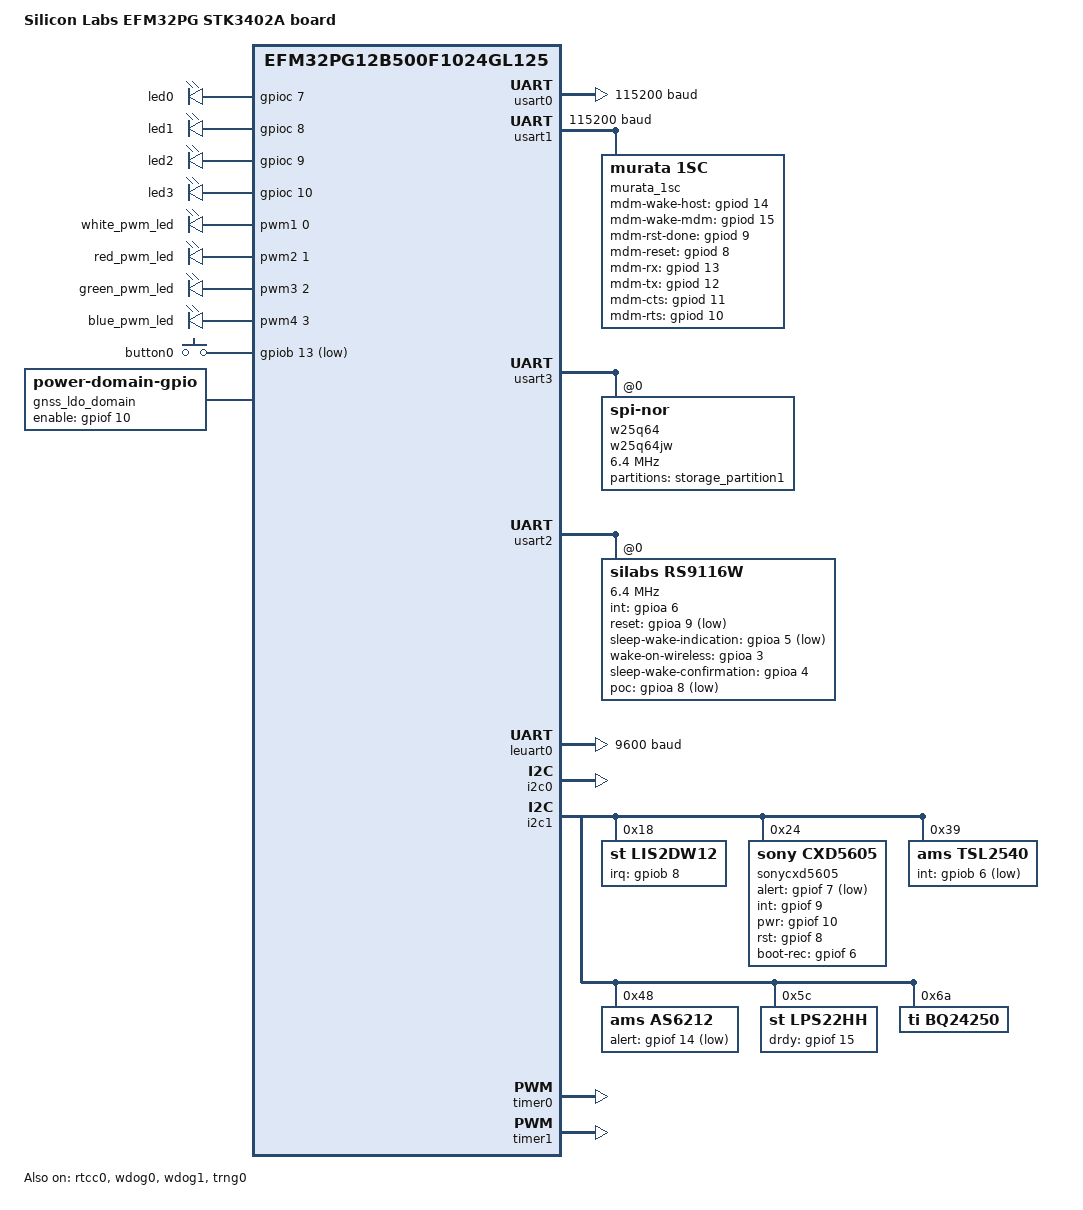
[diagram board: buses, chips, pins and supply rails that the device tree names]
/*
 * Copyright (c) 2017 Christian Taedcke
 * Copyright (c) 2019 Lemonbeat GmbH
 * Copyright (c) 2023 T-Mobile USA, Inc.
 *
 * SPDX-License-Identifier: Apache-2.0
 */

/dts-v1/;
#include <silabs/efm32pg12b500f1024gl125.dtsi>
#include <dt-bindings/pwm/pwm.h>
#include "tmo_dev_edge-pinctrl.dtsi"

/ {
	model = "Silicon Labs EFM32PG STK3402A board";
	compatible = "tmo,dev_edge";

	chosen {
		zephyr,console = &leuart0;
		zephyr,shell-uart = &leuart0;
		zephyr,sram = &sram0;
		zephyr,flash = &flash0;
		zephyr,sflash = &w25q64;
		watchdog0 = &wdog0;
		watchdog1 = &wdog1;
	};

	/* These aliases are provided for compatibility with samples */
	aliases {
		led0 = &led0;
		led1 = &led1;
		led2 = &led2;
		led3 = &led3;
		sw0 = &button0;
		modem = &usart1;
		pwm-buzzer = &pwm0;
		pwm-led0 = &white_pwm_led;
		pwm-led1 = &red_pwm_led;
		pwm-led2 = &green_pwm_led;
		pwm-led3 = &blue_pwm_led;
		white-led = &led0;
		red-led = &led1;
		green-led = &led2;
		blue-led = &led3;
		white-pwm-led = &white_pwm_led;
		red-pwm-led = &red_pwm_led;
		green-pwm-led = &green_pwm_led;
		blue-pwm-led = &blue_pwm_led;
	};

	leds {
		compatible = "gpio-leds";

		led0: led_0 {
			// LED WHITE
			gpios = <&gpioc 7 0>;
		};
		led1: led_1 {
			// LED RED
			gpios = <&gpioc 8 0>;
		};
		led2: led_2 {
			// LED GREEN
			gpios = <&gpioc 9 0>;
		};
		led3: led_3 {
			// LED BLUE
			gpios = <&gpioc 10 0>;
		};
	};

	pwmleds {
		compatible = "pwm-leds";
		white_pwm_led: white_pwm_led {
			// PWM LED WHITE
			pwms = <&pwm1 0 100000 PWM_POLARITY_NORMAL>;
		};
		red_pwm_led: red_pwm_led {
			// PWM LED RED
			pwms = <&pwm2 1 100000 PWM_POLARITY_NORMAL>;
		};
		green_pwm_led: green_pwm_led {
			// PWM LED GREEN
			pwms = <&pwm3 2 100000 PWM_POLARITY_NORMAL>;
		};
		blue_pwm_led: blue_pwm_led {
			// PWM LED BLUE
			pwms = <&pwm4 3 100000 PWM_POLARITY_NORMAL>;
		};
	};

	buttons {
		compatible = "gpio-keys";
		button0: button_0 {
			// User Push Button 0
			gpios = <&gpiob 13 GPIO_ACTIVE_LOW>;
		};
	};

	regulator_batt: regulator-bat-chg {
		// vsys-batt-chg
		regulator-name = "bq24250rge";
		regulator-boot-on;
	};

	gnss_ldo_domain: gnss_pwr {
		compatible = "power-domain-gpio";
		enable-gpios = <&gpiof 10 GPIO_ACTIVE_HIGH>;
		//boot-on;
	};
};

&cpu0 {
	clock-frequency = <38400000>;
};

&usart0 {
	// UART_0
	current-speed = <115200>;
	pinctrl-0 = <&usart0_default>;
	pinctrl-names = "default";
	status = "okay";
};

&usart1 {
	// UART_1
	current-speed	= <115200>;
	//hw-flow-control;
	pinctrl-0 = <&usart1_default>;
	pinctrl-names = "default";
	status = "okay";

	murata_1sc: murata_1sc {
		// MODEM
		// murata,1sc
		compatible = "murata,1sc";
		mdm-wake-host-gpios = <&gpiod 14 GPIO_ACTIVE_HIGH>;
		mdm-wake-mdm-gpios	= <&gpiod 15 GPIO_ACTIVE_HIGH>;
		mdm-rst-done-gpios	= <&gpiod 9 GPIO_ACTIVE_HIGH>;
		mdm-reset-gpios		= <&gpiod 8 GPIO_ACTIVE_HIGH>;
		mdm-rx-gpios		= <&gpiod 13 GPIO_ACTIVE_HIGH>;
		mdm-tx-gpios		= <&gpiod 12 GPIO_ACTIVE_HIGH>;
		mdm-cts-gpios		= <&gpiod 11 GPIO_ACTIVE_HIGH>;
		mdm-rts-gpios		= <&gpiod 10 GPIO_ACTIVE_HIGH>;
		status = "okay";
	};
};

&usart3 {
	// SPI_1
	compatible = "silabs,gecko-spi-usart";
	cs-gpios = <&gpioc 1 GPIO_ACTIVE_LOW>;
	pinctrl-0 = <&usart3_default>;
	pinctrl-names = "default";
	status = "okay";
	#address-cells = <1>;
	#size-cells = <0>;

	w25q64: w25q64jw@0 {
		// w25q64jw
		compatible = "jedec,spi-nor";
		reg = <0>;
		spi-max-frequency = <6400000>;
		// note size is in bits
		size = <0x04000000>;
		jedec-id = [ef 60 17];
		sfdp-bfp = [
			e5 20 f9 ff ff ff ff 07 44 eb 08 6b 08 3b 42 bb
			fe ff ff ff ff ff 00 00 ff ff 40 eb 0c 20 0f 52
			10 d8 00 00 36 02 a6 00 82 ea 14 c9 e9 63 76 33
			7a 75 7a 75 f7 a2 d5 5c 19 f7 4d ff e9 30 f8 80
		];
		status = "okay";
		partitions {
			compatible = "fixed-partitions";
			#address-cells = <1>;
			#size-cells = <1>;
			// Set of storage for entire of the 4096Kb of flash
			storage_partition1: partition@0 {
				// storage
				reg = <0x00000000 0x00800000>;
			};
		};
	};
};

&usart2 {
	// SPI_0
	compatible = "silabs,gecko-spi-usart";

	cs-gpios = <&gpioi 1 GPIO_ACTIVE_LOW>;
	pinctrl-0 = <&usart2_default>;
	pinctrl-names = "default";
	status = "okay";
	#address-cells = <1>;
	#size-cells = <0>;

	rs9116w: rs9116w@0 {
		// RS9116W_0
		compatible = "silabs,rs9116w";
		reg = <0>;
		spi-max-frequency = <6400000>;
		// input
		int-gpios = <&gpioa 6 GPIO_ACTIVE_HIGH>;
		// output init LOW
		reset-gpios = <&gpioa 9 GPIO_ACTIVE_LOW>;
		// input
		sleep-wake-indication-gpios = <&gpioa 5 GPIO_ACTIVE_LOW>;
		// input
		wake-on-wireless-gpios = <&gpioa 3 GPIO_ACTIVE_HIGH>;
		// output init HIGH
		sleep-wake-confirmation-gpios = <&gpioa 4 GPIO_ACTIVE_HIGH>;
		// output init LOW
		poc-gpios = <&gpioa 8 GPIO_ACTIVE_LOW>;
		status = "okay";
	};
};

&leuart0 {
	current-speed = <9600>;
	pinctrl-0 = <&leuart0_default>;
	pinctrl-names = "default";
	status = "okay";
};

&i2c0 {
	location-sda = <GECKO_LOCATION(1) GECKO_PORT_A GECKO_PIN(1)>;
	location-scl = <GECKO_LOCATION(31) GECKO_PORT_A GECKO_PIN(0)>;
	status = "okay";
};

&i2c1 {
	location-sda = <GECKO_LOCATION(12) GECKO_PORT_J GECKO_PIN(15)>;
	location-scl = <GECKO_LOCATION(10) GECKO_PORT_J GECKO_PIN(14)>;
	status = "okay";

	/* ST Microelectronics LIS2DW12 accelerometer */
	lis2dw12: lis2dw12@18 {
		// LIS2DW12
		compatible = "st,lis2dw12";
		reg = <0x18 0x4>;
		status = "okay";
		// Note int2 is not used
		irq-gpios =	 <&gpiob 8 GPIO_ACTIVE_HIGH>;
		range = <2>;
		power-mode = <4>;
		tap-mode = <1>;
		tap-threshold = <12>, <12>, <14>;
		tap-latency = <0xF>;
		// label = "LIS2DW12";
	};

	/* Sony GNSS receiver */
	sonycxd5605: sonycxd5605@24 {
		// CXD5605
		compatible = "sony,cxd5605";
		reg = <0x24 0x4>;
		status = "okay";
		alert-gpios = <&gpiof 7 GPIO_ACTIVE_LOW>;
		int-gpios = <&gpiof 9 GPIO_ACTIVE_HIGH>;
		pwr-gpios = <&gpiof 10 GPIO_ACTIVE_HIGH>;
		rst-gpios = <&gpiof 8 GPIO_ACTIVE_HIGH>;
		boot-rec-gpios = <&gpiof 6 GPIO_ACTIVE_HIGH>;
		power-domain = <&gnss_ldo_domain>;
	};

	/* AMS Ambient Light Sensor */
	tsl2540: tsl2540@39 {
		// TSL2540
		compatible = "ams,tsl2540";
		reg = <0x39 0x4>;
		status = "okay";
		int-gpios = <&gpiob 6 GPIO_ACTIVE_LOW>;
	};

	/*AMS Temperature Sensor */
	as6212: as6212@48 {
		// AS6212
		// TEMP_0
		compatible = "ams,as6212";
		reg = <0x48 0x4>;
		status = "okay";
		alert-gpios = <&gpiof 14 GPIO_ACTIVE_LOW>;
	};

	/* ST Microelectronics LPS22HH pressure sensor */
	lps22hh: lps22hh@5c {
		// LPS22HH
		compatible = "st,lps22hh";
		reg = <0x5c 0x4>;
		status = "okay";
		odr = <1>;
		drdy-gpios =  <&gpiof 15 GPIO_ACTIVE_HIGH>;
	};

	/* TI Switched-Mode Li-Ion Battery Charger */
	bq24250: bq24250@6a {
		// BQ24250
		compatible = "ti,bq24250";
		reg = <0x6a 0x7>;
		status = "okay";
	};
};

&timer0 {
	// TIMER_0
	status = "okay";

	// Buzzer
	pwm0: pwm {
		// PWM_0
		compatible = "silabs,gecko-pwm";

		status = "okay";
		pin-location = <GECKO_LOCATION(16) GECKO_PORT_C GECKO_PIN(11)>;
		prescaler = <4>;
	};
};

&timer1 {
	// TIMER_1
	status = "okay";

	// White LED
	pwm1: pwm {
		// PWM_1
		compatible = "silabs,gecko-pwm";

		status = "okay";
		pin-location = <GECKO_LOCATION(12) GECKO_PORT_C GECKO_PIN(7)>;
	};

	// Red LED
	pwm2: pwm {
		// PWM_2
		compatible = "silabs,gecko-pwm";

		status = "okay";
		pin-location = <GECKO_LOCATION(12) GECKO_PORT_C GECKO_PIN(8)>;
	};

	// Green LED
	pwm3: pwm {
		// PWM_3
		compatible = "silabs,gecko-pwm";

		status = "okay";
		pin-location = <GECKO_LOCATION(12) GECKO_PORT_C GECKO_PIN(9)>;
	};

	// Blue LED
	pwm4: pwm {
		// PWM_4
		compatible = "silabs,gecko-pwm";

		status = "okay";
		pin-location = <GECKO_LOCATION(12) GECKO_PORT_C GECKO_PIN(10)>;
	};
};

&rtcc0 {
	prescaler = <32768>;
	status = "okay";
};

&gpio {
	location-swo = <0>;
	status = "okay";
};

&gpioa {
	status = "okay";
};

&gpiob {
	status = "okay";
};

&gpioc {
	status = "okay";
};

&gpiod {
	status = "okay";
};

&gpiof {
	status = "okay";
};

&gpioi {
	status = "okay";
};

&gpioj {
	status = "okay";
};

&gpiok {
	status = "okay";
};

&wdog0 {
	status = "okay";
};

&wdog1 {
	status = "okay";
};

&flash0 {

	partitions {
		compatible = "fixed-partitions";
		#address-cells = <1>;
		#size-cells = <1>;

		/* Set 6Kb of storage at the end of the 1024Kb of flash */
		storage_partition: partition@fe800 {
			// storage22
			reg = <0x000fe800 0x00001800>;
		};

	};
};

&trng0 {
	status = "okay";
};
